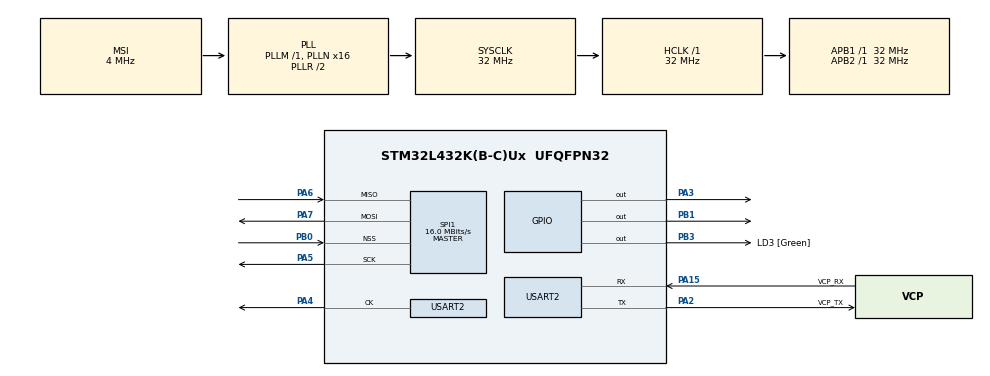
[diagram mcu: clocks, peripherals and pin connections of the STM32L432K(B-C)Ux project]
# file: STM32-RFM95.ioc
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Mcu.Family=STM32L4
Mcu.Name=STM32L432K(B-C)Ux
Mcu.Package=UFQFPN32
NVIC.PriorityGroup=NVIC_PRIORITYGROUP_4
NVIC.USART2_IRQn=true\:0\:0\:false\:false\:true\:true\:true\:true
PA0.GPIO_Label=MCO [High speed clock in]
PA0.Mode=HSE-External-Clock-Source-for-LittleOrca
PA0.Signal=RCC_CK_IN
PA13\ (JTMS-SWDIO).GPIO_Label=SWDIO
PA13\ (JTMS-SWDIO).Mode=Serial_Wire
PA13\ (JTMS-SWDIO).Signal=SYS_JTMS-SWDIO
PA14\ (JTCK-SWCLK).GPIO_Label=SWCLK
PA14\ (JTCK-SWCLK).Mode=Serial_Wire
PA14\ (JTCK-SWCLK).Signal=SYS_JTCK-SWCLK
PA15\ (JTDI).GPIO_Label=VCP_RX
PA15\ (JTDI).Mode=Synchronous
PA15\ (JTDI).Signal=USART2_RX
PA2.GPIO_Label=VCP_TX
PA2.Mode=Synchronous
PA2.Signal=USART2_TX
PA3.Signal=GPIO_Output
PA4.Mode=Synchronous
PA4.Signal=USART2_CK
PA5.Mode=Full_Duplex_Master
PA5.Signal=SPI1_SCK
PA6.Mode=Full_Duplex_Master
PA6.Signal=SPI1_MISO
PA7.Mode=Full_Duplex_Master
PA7.Signal=SPI1_MOSI
PB0.Mode=NSS_Signal_Hard_Input
PB0.Signal=SPI1_NSS
PB1.Signal=GPIO_Output
PB3\ (JTDO-TRACESWO).GPIO_Label=LD3 [Green]
PB3\ (JTDO-TRACESWO).Signal=GPIO_Output
PC14-OSC32_IN\ (PC14).Mode=LSE-External-Oscillator
PC14-OSC32_IN\ (PC14).Signal=RCC_OSC32_IN
PC15-OSC32_OUT\ (PC15).Mode=LSE-External-Oscillator
PC15-OSC32_OUT\ (PC15).Signal=RCC_OSC32_OUT
ProjectManager.HeapSize=0x200
ProjectManager.StackSize=0x400
ProjectManager.TargetToolchain=STM32CubeIDE
RCC.AHBFreq_Value=32000000
RCC.APB1Freq_Value=32000000
RCC.APB1TimFreq_Value=32000000
RCC.APB2Freq_Value=32000000
RCC.APB2TimFreq_Value=32000000
RCC.CortexFreq_Value=32000000
RCC.HCLKFreq_Value=32000000
RCC.HSE_VALUE=8000000
RCC.HSI16_VALUE=16000000
RCC.HSI48_VALUE=48000000
RCC.HSI_VALUE=16000000
RCC.MSI_VALUE=4000000
RCC.PLLMUL=RCC_PLLMUL_4
RCC.PLLN=16
RCC.SYSCLKFreq_VALUE=32000000
RCC.SYSCLKSource=RCC_SYSCLKSOURCE_PLLCLK
RCC.VCOOutputFreq_Value=64000000
SPI1.CalculateBaudRate=16.0 MBits/s
SPI1.Direction=SPI_DIRECTION_2LINES
SPI1.Mode=SPI_MODE_MASTER
SPI1.VirtualNSS=VM_NSSHARD
SPI1.VirtualType=VM_MASTER
USART2.VirtualMode-Synchronous=VM_SYNC
board=NUCLEO-L432KC

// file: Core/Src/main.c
/* USER CODE BEGIN Header */
/**
  ******************************************************************************
  * @file           : main.c
  * @brief          : Main program body
  ******************************************************************************
  * @attention
  *
  * Copyright (c) 2024 STMicroelectronics.
  * All rights reserved.
  *
  * This software is licensed under terms that can be found in the LICENSE file
  * in the root directory of this software component.
  * If no LICENSE file comes with this software, it is provided AS-IS.
  *
  ******************************************************************************
  */
/* USER CODE END Header */
#include "main.h"

/* USER CODE BEGIN Includes */
#include "lora.h"
#include "stdio.h"
#include "string.h"
#include "stdlib.h"
#include "stdint.h"
/* USER CODE END Includes */

/* USER CODE BEGIN PM */
//define MASTER //Sender
#define SLAVE //Receiver(s)
/* USER CODE END PM */

SPI_HandleTypeDef hspi1;

USART_HandleTypeDef husart2;

/* USER CODE BEGIN PV */

int test = 0;
uint8_t* test_var = (uint8_t *)"Hi";
uint8_t* test1_var = (uint8_t *)"four";
uint8_t buffer[32];
uint8_t packet_avail = 0;
char instruct[50];
char version[10];

/* USER CODE END PV */

void SystemClock_Config(void);
static void MX_GPIO_Init(void);
static void MX_USART2_Init(void);
static void MX_SPI1_Init(void);

int main(void)
{

  /* MCU Configuration--------------------------------------------------------*/

  /* Reset of all peripherals, Initializes the Flash interface and the Systick. */
  HAL_Init();

  /* USER CODE BEGIN Init */
  lora_sx1276 lora;

  /* USER CODE END Init */

  /* Configure the system clock */
  SystemClock_Config();

  /* Initialize all configured peripherals */
  MX_GPIO_Init();
  MX_USART2_Init();
  MX_SPI1_Init();
  /* USER CODE BEGIN 2 */

	HAL_GPIO_WritePin(GPIOB, GPIO_PIN_1, GPIO_PIN_RESET);
	HAL_Delay(100);
	HAL_GPIO_WritePin(GPIOB, GPIO_PIN_1, GPIO_PIN_SET);
	HAL_Delay(100);

  // Initialize LoRa module
  uint8_t init = lora_init(&lora, &hspi1, GPIOB, GPIO_PIN_0, LORA_BASE_FREQUENCY_US);
  if (init != LORA_OK) {
	// Initialization failed
	HAL_GPIO_WritePin(LD3_GPIO_Port, LD3_Pin, GPIO_PIN_RESET);

    test = 404;
  }
  else
  {
	  test = 505;
  	  HAL_GPIO_WritePin(LD3_GPIO_Port, LD3_Pin, GPIO_PIN_SET);
  }

  uint8_t* ver = (uint8_t *)lora_version(&lora);

  char version = lora_version(&lora);
  //uint8_t ver = lora_version(&lora);
  if (ver != LORA_COMPATIBLE_VERSION) {
    sprintf(instruct, "Got wrong radio version 0x%x, expected 0x12", ver);
    HAL_USART_Transmit(&husart2, instruct, strlen(instruct), 10);
    sprintf(version, "0x%x", ver);
    HAL_USART_Transmit(&husart2, version, strlen(version), 10);
    return LORA_ERROR;
  }

  /* USER CODE END 2 */

  /* Infinite loop */
  while (1)
  {
		#ifdef SLAVE
		lora_mode_standby(&lora);
		test = 606;
		// Send packets in blocking mode
		lora_send_packet(&lora, test_var, 4);
		HAL_Delay(10000);
		//lora_send_packet(&lora, test1_var, 4);
		//HAL_Delay(1000);

		  uint8_t state = read(&lora, 0x12);
		  sprintf(instruct, "%x", state);
		  HAL_USART_Transmit(&husart2, instruct, strlen(instruct), 100);

		uint8_t packet_avail = lora_is_transmitting(&lora);
			if (packet_avail == 0)
			{
				sprintf(instruct, "Slave Mode: No packet transmission\r\n");
				HAL_USART_Transmit(&husart2, instruct, strlen(instruct), 10);
			}
			else
			{
				sprintf(instruct, "Slave Mode: Transmitting packet\r\n");
				HAL_USART_Transmit(&husart2, instruct, strlen(instruct), 1000);

				sprintf(instruct, "Packet: ");
				HAL_USART_Transmit(&husart2, test_var, 4, 1000);

				sprintf(instruct, "\r\n");
				HAL_USART_Transmit(&husart2, instruct, strlen(instruct), 1000);
			}
			  	//HAL_GPIO_WritePin(LD3_GPIO_Port, LD3_Pin, GPIO_PIN_RESET);
			  	//HAL_Delay(1000);

		#endif

		#ifdef MASTER
		// Standby mode
		lora_mode_standby(&lora);
		//lora_mode_receive_continuous(&lora);
		uint8_t packet_avail = lora_is_packet_available(&lora);
		//sprintf(instruct, "%x", packet_avail);
		//HAL_USART_Transmit(&husart2, instruct, strlen(instruct), 100);
		if (packet_avail == 0)
		{
			sprintf(instruct, "Master Mode: No packet available");
			HAL_USART_Transmit(&husart2, instruct, strlen(instruct), 100);
		}

		else
		{
			sprintf(instruct, "Master Mode: Packet ready");
			HAL_USART_Transmit(&husart2, instruct, strlen(instruct), 100);

			char val[100];

			for (int i = 0; i < 32; i++) {
			        sprintf(&val[i], "%x", buffer[i]); // Assuming each byte is represented by two characters
			    }

			//sprintf(lora, "%02x", buffer);
			HAL_USART_Transmit(&husart2, val, 100, 100);
		}

	  	//HAL_GPIO_WritePin(LD3_GPIO_Port, LD3_Pin, GPIO_PIN_RESET);
	  	//HAL_Delay(1000);

		// Put LoRa modem into continuous receive mode
		lora_mode_receive_continuous(&lora);
		// Wait for packet up to 10sec
		uint8_t res;
		uint8_t len = lora_receive_packet_blocking(&lora, buffer, sizeof(buffer), 10000, &res);

		if (res != LORA_OK) {
		  // Receive failed
			test = 505;
		}

		test = 707;
		buffer[len] = 0;  // null terminate string to print it
		//printf("'%s'\n", buffer);
		#endif

/* USER CODE END WHILE */

/* USER CODE BEGIN 3 */
}
//lora_mode_sleep(&lora);

#ifdef SLAVE
  lora_clear_interrupt_tx_done(&lora);
#endif

/* USER CODE END 3 */

}

void SystemClock_Config(void)
{
  RCC_OscInitTypeDef RCC_OscInitStruct = {0};
  RCC_ClkInitTypeDef RCC_ClkInitStruct = {0};

  /** Configure the main internal regulator output voltage
  */
  if (HAL_PWREx_ControlVoltageScaling(PWR_REGULATOR_VOLTAGE_SCALE1) != HAL_OK)
  {
    Error_Handler();
  }

  /** Configure LSE Drive Capability
  */
  HAL_PWR_EnableBkUpAccess();
  __HAL_RCC_LSEDRIVE_CONFIG(RCC_LSEDRIVE_LOW);

  /** Initializes the RCC Oscillators according to the specified parameters
  * in the RCC_OscInitTypeDef structure.
  */
  RCC_OscInitStruct.OscillatorType = RCC_OSCILLATORTYPE_LSE|RCC_OSCILLATORTYPE_MSI;
  RCC_OscInitStruct.LSEState = RCC_LSE_ON;
  RCC_OscInitStruct.MSIState = RCC_MSI_ON;
  RCC_OscInitStruct.MSICalibrationValue = 0;
  RCC_OscInitStruct.MSIClockRange = RCC_MSIRANGE_6;
  RCC_OscInitStruct.PLL.PLLState = RCC_PLL_ON;
  RCC_OscInitStruct.PLL.PLLSource = RCC_PLLSOURCE_MSI;
  RCC_OscInitStruct.PLL.PLLM = 1;
  RCC_OscInitStruct.PLL.PLLN = 16;
  RCC_OscInitStruct.PLL.PLLP = RCC_PLLP_DIV7;
  RCC_OscInitStruct.PLL.PLLQ = RCC_PLLQ_DIV2;
  RCC_OscInitStruct.PLL.PLLR = RCC_PLLR_DIV2;
  if (HAL_RCC_OscConfig(&RCC_OscInitStruct) != HAL_OK)
  {
    Error_Handler();
  }

  /** Initializes the CPU, AHB and APB buses clocks
  */
  RCC_ClkInitStruct.ClockType = RCC_CLOCKTYPE_HCLK|RCC_CLOCKTYPE_SYSCLK
                              |RCC_CLOCKTYPE_PCLK1|RCC_CLOCKTYPE_PCLK2;
  RCC_ClkInitStruct.SYSCLKSource = RCC_SYSCLKSOURCE_PLLCLK;
  RCC_ClkInitStruct.AHBCLKDivider = RCC_SYSCLK_DIV1;
  RCC_ClkInitStruct.APB1CLKDivider = RCC_HCLK_DIV1;
  RCC_ClkInitStruct.APB2CLKDivider = RCC_HCLK_DIV1;

  if (HAL_RCC_ClockConfig(&RCC_ClkInitStruct, FLASH_LATENCY_1) != HAL_OK)
  {
    Error_Handler();
  }

  /** Enable MSI Auto calibration
  */
  HAL_RCCEx_EnableMSIPLLMode();
}

static void MX_SPI1_Init(void)
{

  /* SPI1 parameter configuration*/

	//original SPI clock config
/*
  hspi1.Instance = SPI1;
  hspi1.Init.Mode = SPI_MODE_MASTER;
  hspi1.Init.Direction = SPI_DIRECTION_2LINES;
  hspi1.Init.DataSize = SPI_DATASIZE_4BIT;
  hspi1.Init.CLKPolarity = SPI_POLARITY_LOW;
  hspi1.Init.CLKPhase = SPI_PHASE_1EDGE;
  hspi1.Init.NSS = SPI_NSS_HARD_INPUT;
  hspi1.Init.BaudRatePrescaler = SPI_BAUDRATEPRESCALER_2;
  hspi1.Init.FirstBit = SPI_FIRSTBIT_MSB;
  hspi1.Init.TIMode = SPI_TIMODE_DISABLE;
  hspi1.Init.CRCCalculation = SPI_CRCCALCULATION_DISABLE;
  hspi1.Init.CRCPolynomial = 7;
  hspi1.Init.CRCLength = SPI_CRC_LENGTH_DATASIZE;
  hspi1.Init.NSSPMode = SPI_NSS_PULSE_ENABLE;
*/

  hspi1.Instance = SPI1;
  hspi1.Init.Mode = SPI_MODE_MASTER;
  hspi1.Init.Direction = SPI_DIRECTION_2LINES;
  hspi1.Init.DataSize = SPI_DATASIZE_8BIT;
  hspi1.Init.CLKPolarity = SPI_POLARITY_LOW;
  hspi1.Init.CLKPhase = SPI_PHASE_1EDGE;
  hspi1.Init.NSS = SPI_NSS_HARD_INPUT;
  hspi1.Init.BaudRatePrescaler = SPI_BAUDRATEPRESCALER_64;
  hspi1.Init.FirstBit = SPI_FIRSTBIT_MSB;
  hspi1.Init.TIMode = SPI_TIMODE_DISABLE;
  hspi1.Init.CRCCalculation = SPI_CRCCALCULATION_DISABLE;
  hspi1.Init.CRCPolynomial = 7;
  hspi1.Init.CRCLength = SPI_CRC_LENGTH_DATASIZE;
  hspi1.Init.NSSPMode = SPI_NSS_PULSE_ENABLE;

  //copied from driver file

  /*hspi1.Instance = SPI1;
  hspi1.Init.Mode = SPI_MODE_MASTER;
  hspi1.Init.Direction = SPI_DIRECTION_2LINES;
  hspi1.Init.DataSize = SPI_DATASIZE_8BIT;
  hspi1.Init.CLKPolarity = SPI_POLARITY_LOW;
  hspi1.Init.CLKPhase = SPI_PHASE_1EDGE;
  hspi1.Init.NSS = SPI_NSS_HARD_INPUT;
  hspi1.Init.BaudRatePrescaler = SPI_BAUDRATEPRESCALER_64;
  hspi1.Init.FirstBit = SPI_FIRSTBIT_MSB;
  hspi1.Init.TIMode = SPI_TIMODE_DISABLE;
  hspi1.Init.CRCCalculation = SPI_CRCCALCULATION_DISABLE;
  hspi1.Init.CRCPolynomial = 10;*/
  if (HAL_SPI_Init(&hspi1) != HAL_OK)
  {
    Error_Handler();
  }

}

static void MX_USART2_Init(void)
{

  husart2.Instance = USART2;
  husart2.Init.BaudRate = 115200;
  husart2.Init.WordLength = USART_WORDLENGTH_8B;
  husart2.Init.StopBits = USART_STOPBITS_1;
  husart2.Init.Parity = USART_PARITY_NONE;
  husart2.Init.Mode = USART_MODE_TX_RX;
  husart2.Init.CLKPolarity = USART_POLARITY_LOW;
  husart2.Init.CLKPhase = USART_PHASE_1EDGE;
  husart2.Init.CLKLastBit = USART_LASTBIT_DISABLE;
  if (HAL_USART_Init(&husart2) != HAL_OK)
  {
    Error_Handler();
  }

}

static void MX_GPIO_Init(void)
{
  GPIO_InitTypeDef GPIO_InitStruct = {0};

  /* GPIO Ports Clock Enable */
  __HAL_RCC_GPIOC_CLK_ENABLE();
  __HAL_RCC_GPIOA_CLK_ENABLE();
  __HAL_RCC_GPIOB_CLK_ENABLE();

  /*Configure GPIO pin Output Level */
  HAL_GPIO_WritePin(GPIOA, GPIO_PIN_3, GPIO_PIN_RESET);

  /*Configure GPIO pin Output Level */
  HAL_GPIO_WritePin(GPIOB, GPIO_PIN_1|LD3_Pin, GPIO_PIN_RESET);

  /*Configure GPIO pin : PA3 */
  GPIO_InitStruct.Pin = GPIO_PIN_3;
  GPIO_InitStruct.Mode = GPIO_MODE_OUTPUT_PP;
  GPIO_InitStruct.Pull = GPIO_NOPULL;
  GPIO_InitStruct.Speed = GPIO_SPEED_FREQ_LOW;
  HAL_GPIO_Init(GPIOA, &GPIO_InitStruct);

  /*Configure GPIO pin : LD3_Pin */
  GPIO_InitStruct.Pin = LD3_Pin;
  GPIO_InitStruct.Mode = GPIO_MODE_OUTPUT_PP;
  GPIO_InitStruct.Pull = GPIO_NOPULL;
  GPIO_InitStruct.Speed = GPIO_SPEED_FREQ_LOW;
  HAL_GPIO_Init(LD3_GPIO_Port, &GPIO_InitStruct);

}

void Error_Handler(void)
{
  __disable_irq();
  while (1)
  {
  }
}
